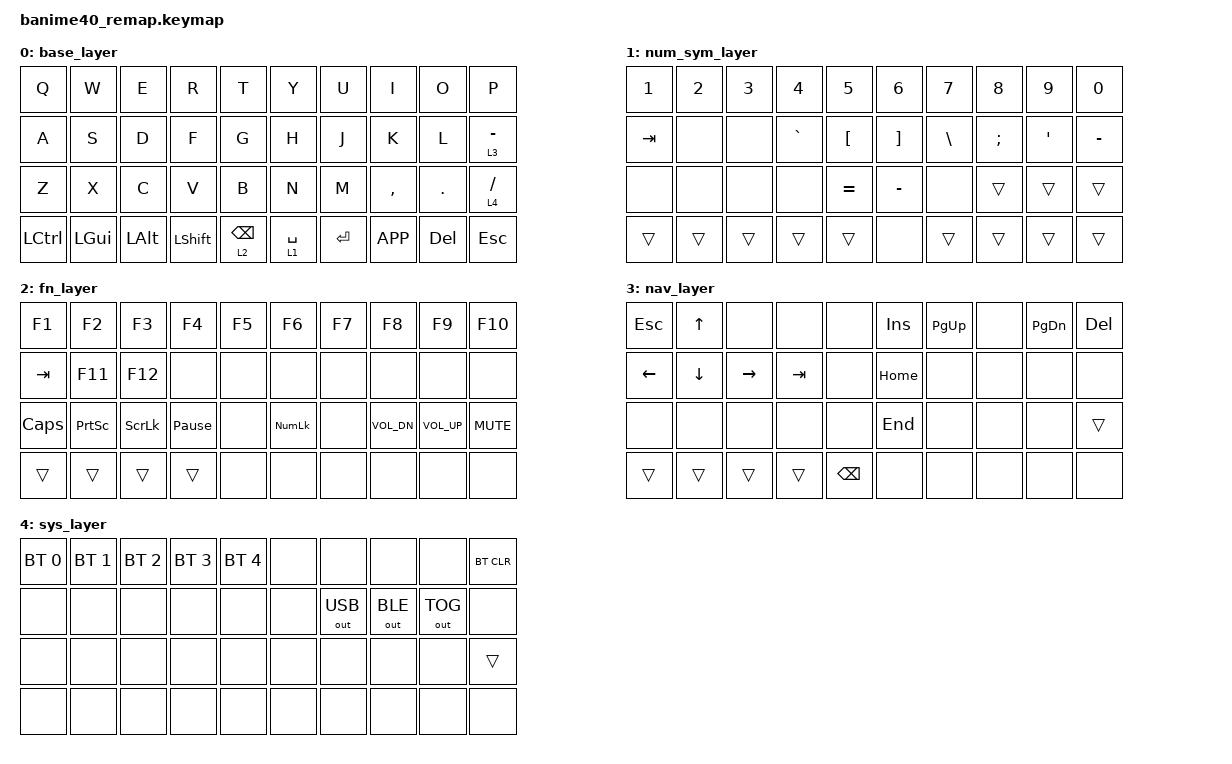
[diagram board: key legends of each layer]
/*
 * banime40 ZMK Keymap
 * Converted from QMK default keymap (sporewoh/banime40)
 *
 * Layer index:
 *   0 = Base (QWERTY)
 *   1 = Num/Sym  (hold Space)
 *   2 = Fn/Media (hold Bksp)
 *   3 = Nav      (hold -)
 *   4 = Layer 4  (hold /)  — placeholder, define as needed
 *
 * TODO: Update keymap logic as directed by user.
 */

#include <behaviors.dtsi>
#include <dt-bindings/zmk/keys.h>
#include <dt-bindings/zmk/bt.h>
#include <dt-bindings/zmk/outputs.h>

/ {
    keymap {
        compatible = "zmk,keymap";

        /* ── Layer 0: Base ─────────────────────────────────────────────
         * ┌───┬───┬───┬───┬───┬───┬───┬───┬───┬───┐
         * │ Q │ W │ E │ R │ T │ Y │ U │ I │ O │ P │
         * ├───┼───┼───┼───┼───┼───┼───┼───┼───┼───┤
         * │ A │ S │ D │ F │ G │ H │ J │ K │ L │ - │  (hold - = Nav)
         * ├───┼───┼───┼───┼───┼───┼───┼───┼───┼───┤
         * │ Z │ X │ C │ V │ B │ N │ M │ , │ . │ / │  (hold / = L4)
         * ├───┼───┼───┼───┼───┼───┼───┼───┼───┼───┤
         * │CTL│GUI│ALT│SFT│BSP│SPC│ENT│APP│DEL│ESC│  (hold BSP=Fn, hold SPC=Num)
         * └───┴───┴───┴───┴───┴───┴───┴───┴───┴───┘
         */
        base_layer {
            bindings = <
                &kp Q     &kp W     &kp E     &kp R     &kp T        &kp Y        &kp U     &kp I     &kp O     &kp P
                &kp A     &kp S     &kp D     &kp F     &kp G        &kp H        &kp J     &kp K     &kp L     &lt 3 MINUS
                &kp Z     &kp X     &kp C     &kp V     &kp B        &kp N        &kp M     &kp COMMA &kp DOT   &lt 4 FSLH
                &kp LCTRL &kp LGUI  &kp LALT  &kp LSHFT &lt 2 BSPC  &lt 1 SPACE  &kp RET   &kp K_APP &kp DEL   &kp ESC
            >;
        };

        /* ── Base Layer — Bottom Row Variants (reference) ────────────
         *
         * [A] Full ortho (current, 10× 1u)
         *  ┌──────┬──────┬──────┬──────┬──────┬──────┬──────┬──────┬──────┬──────┐
         *  │ CTL  │ GUI  │ ALT  │ SFT  │ BSP  │ SPC  │ ENT  │ APP  │ DEL  │ ESC  │
         *  │      │      │      │      │▼ FN  │▼ NUM │      │      │      │      │
         *  └──────┴──────┴──────┴──────┴──────┴──────┴──────┴──────┴──────┴──────┘
         *   3,0    3,1    3,2    3,3    3,4    3,5    3,6    3,7    3,8    3,9
         *
         * [B] 2×2.25u spacebar  — mất 3,3(SFT) và 3,6(ENT)
         *  ┌──────┬──────────┬──────┬────────────┬────────────┬──────┬──────┬──────┐
         *  │ CTL  │GUI/▼SFT  │ ALT  │─ BSP/▼FN ─│─ SPC/▼NUM─│ APP  │ DEL  │ ESC  │
         *  └──────┴──────────┴──────┴────────────┴────────────┴──────┴──────┴──────┘
         *   3,0       3,1      3,2       3,4           3,5      3,7    3,8    3,9
         *  Thay đổi:
         *   3,1 : &mt LSHFT LGUI   (tap=GUI, hold=Shift  — hấp thu SFT từ 3,3)
         *   3,4 : &lt 2 BSPC       (giữ nguyên)
         *   3,5 : &lt 1 SPACE      (giữ nguyên)
         *  Bổ sung vào layer:
         *   Num(1) 3,6 → &kp RET   (Enter bù cho 3,6 bị xóa)
         *
         * [C] 1×6.25u spacebar  — mất 3,2(ALT) 3,3(SFT) 3,5(SPC) 3,6(ENT) 3,7(APP)
         *  ┌──────┬──────────┬──────────────────────────┬──────────┬──────────┐
         *  │ CTL  │GUI/▼ALT  │──────── SPC/▼NUM ────────│ DEL/▼FN  │ ESC/▼SFT │
         *  └──────┴──────────┴──────────────────────────┴──────────┴──────────┘
         *   3,0       3,1                 3,4                 3,8        3,9
         *  Thay đổi:
         *   3,1 : &mt LALT LGUI    (tap=GUI, hold=ALT  — hấp thu ALT từ 3,2)
         *   3,4 : &lt 1 SPACE      (6.25u key = tap Space, hold Num)
         *   3,8 : &lt 2 DEL        (tap=DEL, hold=FN   — hấp thu FN trigger từ 3,4)
         *   3,9 : &mt LSHFT ESC    (tap=ESC, hold=Shift — hấp thu SFT từ 3,3)
         *  Bổ sung vào layer:
         *   Num(1) 3,4 → &kp BSPC  (Backspace bù cho tap 3,4 cũ)
         *   Num(1) 3,6 → &kp RET   (Enter bù cho 3,6 bị xóa)
         */

        /* ── Layer 1: Num / Sym ────────────────────────────────────────
         * ┌───┬───┬───┬───┬───┬───┬───┬───┬───┬───┐
         * │ 1 │ 2 │ 3 │ 4 │ 5 │ 6 │ 7 │ 8 │ 9 │ 0 │
         * ├───┼───┼───┼───┼───┼───┼───┼───┼───┼───┤
         * │TAB│   │   │ ` │ [ │ ] │ \ │ ; │ ' │ - │
         * ├───┼───┼───┼───┼───┼───┼───┼───┼───┼───┤
         * │   │   │   │   │ = │ - │   │   │   │   │
         * ├───┼───┼───┼───┼───┼───┼───┼───┼───┼───┤
         * │   │   │   │   │   │▓▓▓│   │   │   │   │
         * └───┴───┴───┴───┴───┴───┴───┴───┴───┴───┘
         */
        num_sym_layer {
            bindings = <
                &kp N1    &kp N2    &kp N3    &kp N4    &kp N5       &kp N6       &kp N7    &kp N8    &kp N9    &kp N0
                &kp TAB   &none     &none     &kp GRAVE &kp LBKT     &kp RBKT     &kp BSLH  &kp SEMI  &kp SQT   &kp MINUS
                &none     &none     &none     &none     &kp EQUAL    &kp MINUS    &none     &trans    &trans    &trans
                &trans    &trans    &trans    &trans    &trans       &none        &trans    &trans    &trans    &trans
            >;
        };

        /* ── Layer 2: Fn / Media ───────────────────────────────────────
         * ┌───┬───┬───┬───┬───┬───┬───┬───┬───┬────┐
         * │F1 │F2 │F3 │F4 │F5 │F6 │F7 │F8 │F9 │F10 │
         * ├───┼───┼───┼───┼───┼───┼───┼───┼───┼────┤
         * │TAB│F11│F12│   │   │   │   │   │   │    │
         * ├───┼───┼───┼───┼───┼───┼───┼───┼───┼────┤
         * │CAP│PRT│SCL│PAU│   │NUM│   │VO-│VO+│MUTE│
         * ├───┼───┼───┼───┼───┼───┼───┼───┼───┼────┤
         * │   │   │   │   │▓▓▓│   │   │   │   │    │
         * └───┴───┴───┴───┴───┴───┴───┴───┴───┴────┘
         */
        fn_layer {
            bindings = <
                &kp F1    &kp F2    &kp F3    &kp F4    &kp F5       &kp F6       &kp F7    &kp F8    &kp F9    &kp F10
                &kp TAB   &kp F11   &kp F12   &none     &none        &none        &none     &none     &none     &none
                &kp CAPS  &kp PSCRN &kp SLCK  &kp PAUSE_BREAK &none &kp KP_NUM   &none     &kp C_VOL_DN &kp C_VOL_UP &kp C_MUTE
                &trans    &trans    &trans    &trans    &none        &none        &none     &none     &none     &none
            >;
        };

        /* ── Layer 3: Navigation ───────────────────────────────────────
         * ┌───┬───┬───┬───┬───┬───┬────┬───┬────┬───┐
         * │ESC│ ↑ │   │   │   │INS│PGUP│   │PGDN│DEL│
         * ├───┼───┼───┼───┼───┼───┼────┼───┼────┼───┤
         * │ ← │ ↓ │ → │TAB│   │HOM│    │   │    │   │
         * ├───┼───┼───┼───┼───┼───┼────┼───┼────┼───┤
         * │   │   │   │   │   │END│    │   │    │▓▓▓│  (hold = this layer)
         * ├───┼───┼───┼───┼───┼───┼────┼───┼────┼───┤
         * │   │   │   │   │BSP│   │    │   │    │   │
         * └───┴───┴───┴───┴───┴───┴────┴───┴────┴───┘
         * Arrow keys on WASD: W=↑  A=←  S=↓  D=→  TAB on F
         */
        nav_layer {
            bindings = <
                &kp ESC   &kp UP    &none     &none     &none        &kp INS      &kp PG_UP &none     &kp PG_DN &kp DEL
                &kp LEFT  &kp DOWN  &kp RIGHT &kp TAB   &none        &kp HOME     &none     &none     &none     &none
                &none     &none     &none     &none     &none        &kp END      &none     &none     &none     &trans
                &trans    &trans    &trans    &trans    &kp BSPC     &none        &none     &none     &none     &none
            >;
        };

        /* ── Layer 4: System / Connectivity ───────────────────────────
         * Activated by holding / (bottom-right alpha key)
         *
         * ┌────┬────┬────┬────┬────┬────┬────┬────┬────┬──────┐
         * │BT1 │BT2 │BT3 │BT4 │BT5 │    │    │    │    │BTCLR │
         * ├────┼────┼────┼────┼────┼────┼────┼────┼────┼──────┤
         * │    │    │    │    │    │    │USB │BLE │TOG │      │
         * ├────┼────┼────┼────┼────┼────┼────┼────┼────┼──────┤
         * │    │    │    │    │    │    │    │    │    │[hold]│
         * ├────┼────┼────┼────┼────┼────┼────┼────┼────┼──────┤
         * │    │    │    │    │    │    │    │    │    │      │
         * └────┴────┴────┴────┴────┴────┴────┴────┴────┴──────┘
         *
         * BT1-5        : Select Bluetooth profile 1-5 (paired device slots)
         * BTCLR        : Clear bonds on current BT profile (re-pair this slot)
         * USB          : Force USB HID output (manual override)
         * BLE          : Force BLE output (manual override — useful when charging via USB
         *                but wanting to use keyboard wirelessly at the same time)
         * TOG          : Toggle between USB and BLE output
         * STUDIO_UNLOCK: Unlock ZMK Studio for live keymap editing via web app
         *
         * Auto-switching (no key needed):
         *   - Plug into computer  → ZMK detects USB enumeration → routes to USB automatically
         *   - Plug into charger   → USB not enumerated → BLE stays active automatically
         *   - Unplug              → BLE active automatically
         *
         * ZMK Studio live remap:
         *   1. Plug in USB cable
         *   2. Open Banime40-remap web app → click "Connect" → select the port
         *   3. Hold / to activate Layer 4, then tap Y (&studio_unlock)
         *   4. Web app shows "⚡ Live" — edit keys, click "Apply live"
         */
        sys_layer {
            bindings = <
                &bt BT_SEL 0  &bt BT_SEL 1  &bt BT_SEL 2  &bt BT_SEL 3  &bt BT_SEL 4  &none           &none         &none         &none        &bt BT_CLR
                &none           &none         &none         &none         &none         &none  &out OUT_USB  &out OUT_BLE  &out OUT_TOG &none
                &none           &none         &none         &none         &none         &none  &none         &none         &none        &trans
                &none           &none         &none         &none         &none         &none  &none         &none         &none        &none
            >;
        };
    };
};
